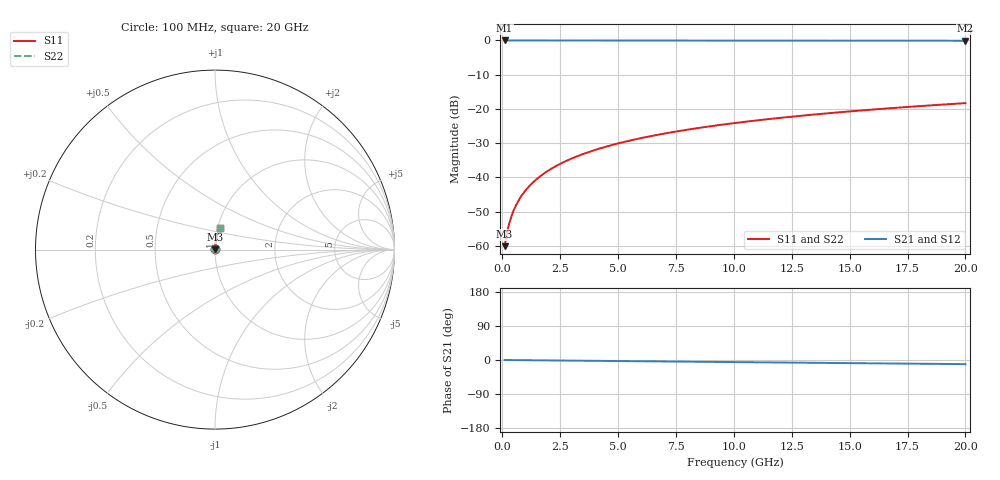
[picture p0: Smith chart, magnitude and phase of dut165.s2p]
! Touchstone file exported from HFSS 2026.1.0
!  File:  C:/ffzhzh/LocalFiles/Ansys_Project_Files/temp_train_TMRDL_165_1782983365_6248.aedt
!  Generated:  05:10:41 PM Jul  2, 2026
!  Design:  TMRDL
!  Project:  temp_train_TMRDL_165_1782983365_6248
! Variables:
!  h_bsmrdl = 2um
!  h_ox = 20um
!  h_rdl = 5um
!  h_sub = 80um
!  h_tmrdl = 3.14um
!  h_tsv = 80um
!  h_via = 3um
!  l_bsmrdl = 300um
!  l_sub = 504.2um
!  l_tmrdl = 104.2um
!  m_sub = 200um
!  pitch = 58.16um
!  r_tsv = 6um
!  s_tmrdl = 10um
!  w_bsmrdl = 18um
!  w_sub = 500um
!  w_tmrdl = 26.87um
!  x_tsv_center1 = 117.635um
!  x_tsv_center2 = 435.635um
!  x_tsv_center3 = 566.705um
!  x_tsv_center4 = 884.705um
!  x_tsv_center5 = 1015.775um
!  x_tsv_center6 = 1333.775um
# GHz S MA R 50.000000
! Terminal data exported
! Port[1] = TM_RDL1_1_T1
! Port[2] = TM_RDL1_1_T2
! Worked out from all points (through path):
!   200 points, 100 MHz to 20 GHz, reference 50 ohm
!   highest |S21| = -0.01 dB at 100 MHz (marker M1); lowest = -0.1 dB at 20 GHz (marker M2)
!   group delay of S21, straight-line fit = 1.52 ps
!   lowest |S11| = -60.1 dB at 100 MHz (marker M3), VSWR 1.00, Z = 50.1 + j0.0679 ohm
!   |S11| at or under -10 dB: start of sweep to end of sweep
!   |S22| runs from -60.1 to -18.3 dB; largest |S21 - S12| = 2.1e-15
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0.1  0.0009914 43.2  0.9993 -0.1  0.9993 -0.1  0.0009914 43.2
! Gamma 0 0 0 0
! Port Impedance 50 0 50 0
0.2  0.001539 60.6  0.9992 -0.1  0.9992 -0.1  0.001539 60.6
0.3  0.002139 68.3  0.9992 -0.2  0.9992 -0.2  0.002139 68.3
0.4  0.002748 72.5  0.9992 -0.2  0.9992 -0.2  0.002748 72.5
0.5  0.003357 75.2  0.9992 -0.3  0.9992 -0.3  0.003357 75.2
0.6  0.003969 77.1  0.9991 -0.3  0.9991 -0.3  0.003969 77.1
0.8  0.005197 79.7  0.9991 -0.5  0.9991 -0.5  0.005197 79.7
1.1  0.007051 81.9  0.9991 -0.6  0.9991 -0.6  0.007051 81.9
1.5  0.009538 83.5  0.999 -0.8  0.999 -0.8  0.009538 83.5
1.8  0.01141 84.2  0.999 -1.0  0.999 -1.0  0.01141 84.2
2.1  0.01328 84.6  0.9989 -1.2  0.9989 -1.2  0.01328 84.6
2.7  0.01703 85.0  0.9988 -1.5  0.9988 -1.5  0.01703 85.0
3.5  0.02202 85.2  0.9987 -1.9  0.9987 -1.9  0.02202 85.2
4.2  0.02638 85.1  0.9985 -2.3  0.9985 -2.3  0.02638 85.1
5  0.03135 84.9  0.9983 -2.8  0.9983 -2.8  0.03135 84.9
5.9  0.03692 84.6  0.998 -3.3  0.998 -3.3  0.03692 84.6
6.8  0.04246 84.2  0.9976 -3.8  0.9976 -3.8  0.04246 84.2
8.3  0.05165 83.6  0.997 -4.6  0.997 -4.6  0.05165 83.6
10.1  0.0626 82.7  0.9961 -5.6  0.9961 -5.6  0.0626 82.7
13.4  0.08248 81.1  0.9943 -7.4  0.9943 -7.4  0.08248 81.1
16.7  0.1021 79.4  0.9922 -9.2  0.9922 -9.2  0.1021 79.4
20  0.1215 77.7  0.9898 -10.9  0.9898 -10.9  0.1215 77.7
